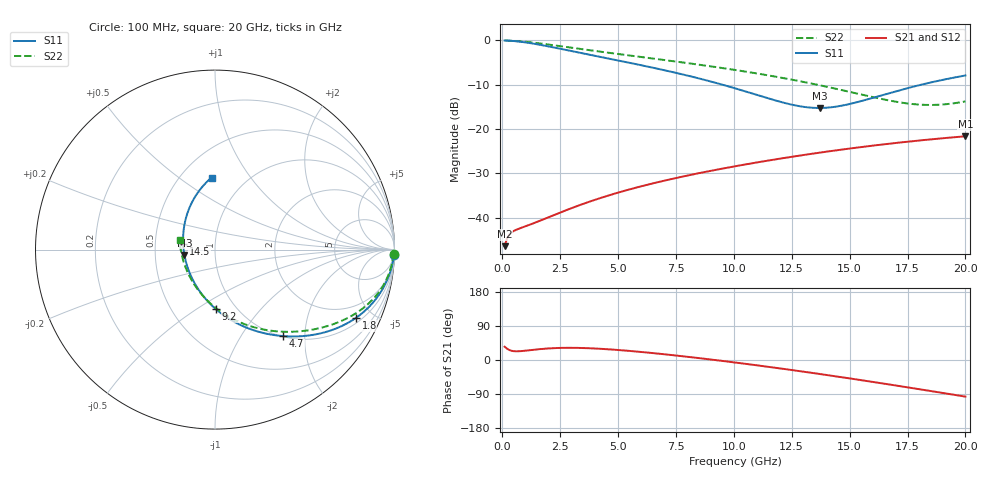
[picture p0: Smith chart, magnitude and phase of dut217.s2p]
! Touchstone file exported from HFSS 2024.1.0
!  File:  C:/UserFiles/LocalFiles/RDL_TSV_Batchsim/temp_RDL_TSV_217_1779448072.aedt
!  Generated:  07:21:09 PM May 22, 2026
!  Design:  RDL_TSV
!  Project:  temp_RDL_TSV_217_1779448072
!  Setup:  Setup1
!  Solution:  Sweep
! Variables:
!  dtsv = 12.35um
!  hbump = 3um
!  htsv = 61.76um
!  ldown = 241.54um
!  lrdl = 467.19um
!  p = 40
!  p1 = 41.48um
!  rhole = 10um
!  subl = 2593.38um
!  t = 450um
!  tdown = 3.66um
!  trdl = 3.24um
!  viad = 10um
!  wdown = 16.28um
!  wrdl = 13.8um
!  xbump = 18um
# GHz S MA R 50.000000
! Terminal data exported
! Port[1] = TM1_1_T1
! Port[2] = TM1_4_T1
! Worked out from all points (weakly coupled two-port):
!   200 points, 100 MHz to 20 GHz, reference 50 ohm
!   highest |S21| = -21.62 dB at 20 GHz (marker M1); lowest = -46.4 dB at 100 MHz (marker M2)
!   lowest |S11| = -15.2 dB at 13.7 GHz (marker M3), VSWR 1.42, Z = 35.4 - j2.13 ohm
!   |S11| at or under -10 dB: 9.506 GHz to 18.09 GHz (8.588 GHz wide, 62.2 % of centre)
!   |S22| runs from -14.6 to 0.0 dB; largest |S21 - S12| = 1e-14
!   S11 on the Smith chart (normalised r, x): 100 MHz: 9, -63; 1.8 GHz: 1.25, -3.99; 4.7 GHz: 1.01, -1.57; 9.2 GHz: 0.81, -0.61; 14.5 GHz: 0.70, +0.05; 20 GHz: 0.70, +0.67
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0.1  0.9955 -1.8  0.004805 35.1  0.004805 35.1  0.9957 -1.3
! Gamma 0 0 0 0
! Port Impedance 50 0 50 0
0.2  0.994 -3.4  0.005812 30.0  0.005812 30.0  0.9928 -2.5
0.3  0.9907 -5.0  0.006475 26.5  0.006475 26.5  0.9904 -3.6
0.4  0.9864 -6.6  0.006873 24.3  0.006873 24.3  0.9878 -4.8
1.1  0.9384 -17.0  0.008223 25.2  0.008223 25.2  0.9568 -12.4
1.8  0.8727 -25.8  0.00969 29.6  0.00969 29.6  0.9102 -19.0
2.6  0.7933 -34.3  0.01176 32.0  0.01176 32.0  0.8521 -25.3
3.5  0.7105 -42.3  0.01441 31.6  0.01441 31.6  0.7902 -31.2
4.7  0.6144 -51.7  0.01826 27.8  0.01826 27.8  0.7174 -38.0
6.8  0.4727 -67.5  0.02555 16.4  0.02555 16.4  0.6092 -48.8
9.2  0.3327 -89.0  0.03467 -0.1  0.03467 -0.1  0.5004 -61.2
10.1  0.2854 -99.3  0.03834 -6.9  0.03834 -6.9  0.4615 -66.3
12.3  0.1938 -136.0  0.04786 -24.7  0.04786 -24.7  0.3688 -80.7
13.4  0.1738 -162.5  0.05289 -34.2  0.05289 -34.2  0.324 -89.5
13.7  0.1729 -170.3  0.05429 -36.8  0.05429 -36.8  0.312 -92.2
14.5  0.1804 169.4  0.05804 -44.0  0.05804 -44.0  0.2811 -100.2
15.3  0.2003 151.5  0.06182 -51.3  0.06182 -51.3  0.2521 -109.5
16.7  0.2536 127.5  0.06841 -64.4  0.06841 -64.4  0.2101 -130.2
17.6  0.2936 115.8  0.07256 -73.1  0.07256 -73.1  0.1929 -146.8
18.4  0.3302 107.1  0.07616 -80.9  0.07616 -80.9  0.187 -163.3
19.2  0.3665 99.5  0.07964 -88.7  0.07964 -88.7  0.1911 179.9
20  0.4015 92.7  0.08299 -96.6  0.08299 -96.6  0.2049 164.1
